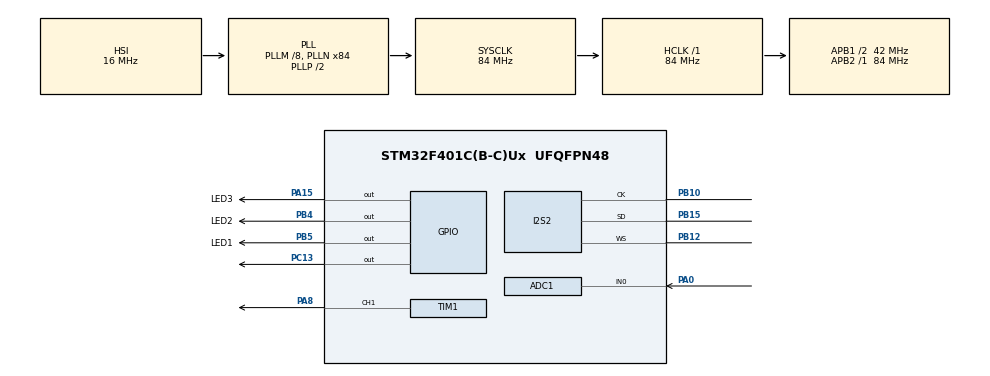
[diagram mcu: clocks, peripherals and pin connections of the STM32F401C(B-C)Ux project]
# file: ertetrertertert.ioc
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ADC1.Channel-7\#ChannelRegularConversion=ADC_CHANNEL_0
ADC1.ClockPrescaler=ADC_CLOCK_SYNC_PCLK_DIV8
ADC1.ContinuousConvMode=ENABLE
ADC1.DMAContinuousRequests=DISABLE
ADC1.EOCSelection=ADC_EOC_SEQ_CONV
ADC1.NbrOfConversion=1
ADC1.NbrOfConversionFlag=1
ADC1.Rank-7\#ChannelRegularConversion=1
ADC1.SamplingTime-7\#ChannelRegularConversion=ADC_SAMPLETIME_84CYCLES
ADC1.ScanConvMode=DISABLE
ADC1.master=1
Dma.Request0=SPI2_RX
Dma.SPI2_RX.0.Direction=DMA_PERIPH_TO_MEMORY
Dma.SPI2_RX.0.FIFOMode=DMA_FIFOMODE_DISABLE
Dma.SPI2_RX.0.Instance=DMA1_Stream3
Dma.SPI2_RX.0.MemDataAlignment=DMA_MDATAALIGN_HALFWORD
Dma.SPI2_RX.0.MemInc=DMA_MINC_ENABLE
Dma.SPI2_RX.0.Mode=DMA_CIRCULAR
Dma.SPI2_RX.0.PeriphDataAlignment=DMA_PDATAALIGN_HALFWORD
Dma.SPI2_RX.0.PeriphInc=DMA_PINC_DISABLE
Dma.SPI2_RX.0.Priority=DMA_PRIORITY_LOW
I2S2.AudioFreq=I2S_AUDIOFREQ_32K
I2S2.DataFormat=I2S_DATAFORMAT_16B_EXTENDED
I2S2.ErrorAudioFreq=-0.26 %
I2S2.FullDuplexMode=I2S_FULLDUPLEXMODE_DISABLE
I2S2.Instance=SPI$Index
I2S2.Mode=I2S_MODE_MASTER_RX
I2S2.RealAudioFreq=31.914 KHz
I2S2.VirtualMode=I2S_MODE_MASTER
Mcu.Family=STM32F4
Mcu.Name=STM32F401C(B-C)Ux
Mcu.Package=UFQFPN48
NVIC.ADC_IRQn=true\:0\:0\:false\:false\:true\:true\:true\:true
NVIC.DMA1_Stream3_IRQn=true\:0\:0\:false\:false\:true\:false\:true\:true
NVIC.PriorityGroup=NVIC_PRIORITYGROUP_4
NVIC.SPI2_IRQn=true\:0\:0\:false\:false\:true\:true\:true\:true
PA0-WKUP.Signal=ADCx_IN0
PA13.Mode=Serial_Wire
PA13.Signal=SYS_JTMS-SWDIO
PA14.Mode=Serial_Wire
PA14.Signal=SYS_JTCK-SWCLK
PA15.GPIO_Label=LED3
PA15.Signal=GPIO_Output
PA8.Signal=S_TIM1_CH1
PB10.Mode=Half_Duplex_Master
PB10.Signal=I2S2_CK
PB12.Mode=Half_Duplex_Master
PB12.Signal=I2S2_WS
PB15.Mode=Half_Duplex_Master
PB15.Signal=I2S2_SD
PB4.GPIO_Label=LED2
PB4.Signal=GPIO_Output
PB5.GPIO_Label=LED1
PB5.Signal=GPIO_Output
PC13-ANTI_TAMP.Signal=GPIO_Output
PH0\ -\ OSC_IN.Mode=HSE-External-Oscillator
PH0\ -\ OSC_IN.Signal=RCC_OSC_IN
PH1\ -\ OSC_OUT.Mode=HSE-External-Oscillator
PH1\ -\ OSC_OUT.Signal=RCC_OSC_OUT
ProjectManager.HeapSize=0x200
ProjectManager.StackSize=0x400
ProjectManager.TargetToolchain=STM32CubeIDE
RCC.48MHZClocksFreq_Value=42000000
RCC.AHBFreq_Value=84000000
RCC.APB1CLKDivider=RCC_HCLK_DIV2
RCC.APB1Freq_Value=42000000
RCC.APB1TimFreq_Value=84000000
RCC.APB2Freq_Value=84000000
RCC.APB2TimFreq_Value=84000000
RCC.CortexFreq_Value=84000000
RCC.HCLKFreq_Value=84000000
RCC.HSE_VALUE=25000000
RCC.HSI_VALUE=16000000
RCC.LSE_VALUE=32768
RCC.PLLM=8
RCC.PLLN=84
RCC.SYSCLKFreq_VALUE=84000000
RCC.SYSCLKSource=RCC_SYSCLKSOURCE_PLLCLK
RCC.VCOOutputFreq_Value=168000000
SH.ADCx_IN0.0=ADC1_IN0,IN0
SH.S_TIM1_CH1.0=TIM1_CH1,PWM Generation1 CH1
TIM1.AutoReloadPreload=TIM_AUTORELOAD_PRELOAD_ENABLE
TIM1.Channel-PWM\ Generation1\ CH1=TIM_CHANNEL_1
TIM1.Period=100
TIM1.Prescaler=127
VP_TIM1_VS_ClockSourceINT.Mode=Internal
board=custom

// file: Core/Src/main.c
/* USER CODE BEGIN Header */
/**
  ******************************************************************************
  * @file           : main.c
  * @brief          : Main program body
  ******************************************************************************
  * @attention
  *
  * Copyright (c) 2024 STMicroelectronics.
  * All rights reserved.
  *
  * This software is licensed under terms that can be found in the LICENSE file
  * in the root directory of this software component.
  * If no LICENSE file comes with this software, it is provided AS-IS.
  *
  ******************************************************************************
  */
/* USER CODE END Header */
#include "main.h"

ADC_HandleTypeDef hadc1;

I2S_HandleTypeDef hi2s2;
DMA_HandleTypeDef hdma_spi2_rx;

TIM_HandleTypeDef htim1;

/* USER CODE BEGIN PV */
volatile int16_t data_i2s[10];
volatile int16_t sample_i2s;
uint8_t i2s_tick = 0;
int dB_val;
uint16_t _max = 0;
uint16_t _min = 0;
uint8_t alarm = 0;

uint8_t radar = 0;
uint8_t motion = 0;
uint8_t last_motion = 0;

volatile int32_t adc_in;
volatile int32_t n_adc_in;

int32_t threshold = 0;
/* USER CODE END PV */

void SystemClock_Config(void);
static void MX_GPIO_Init(void);
static void MX_DMA_Init(void);
static void MX_I2S2_Init(void);
static void MX_ADC1_Init(void);
static void MX_TIM1_Init(void);

/* USER CODE BEGIN 0 */
void HAL_I2S_RxCpltCallback(I2S_HandleTypeDef *hi2s){
	sample_i2s = data_i2s[0];
	i2s_tick = 255;
}

void HAL_ADC_ConvCpltCallback(ADC_HandleTypeDef* hadc)
{
	adc_in = HAL_ADC_GetValue(&hadc1);
	n_adc_in = (~adc_in) + 1;
}
/* USER CODE END 0 */

int main(void)
{

  /* MCU Configuration--------------------------------------------------------*/

  /* Reset of all peripherals, Initializes the Flash interface and the Systick. */
  HAL_Init();

  /* Configure the system clock */
  SystemClock_Config();

  /* Initialize all configured peripherals */
  MX_GPIO_Init();
  MX_DMA_Init();
  MX_I2S2_Init();
  MX_ADC1_Init();
  MX_TIM1_Init();
  /* USER CODE BEGIN 2 */
  HAL_I2S_Receive_DMA(&hi2s2,(uint16_t*)data_i2s, sizeof(data_i2s)/2);
  HAL_TIM_PWM_Start(&htim1, TIM_CHANNEL_1);
  HAL_ADC_Start_IT(&hadc1);

  alarm = 0;
  HAL_Delay(1000);
  /* USER CODE END 2 */

  /* Infinite loop */
  /* USER CODE BEGIN WHILE */
  while (1)
  {
	  if(i2s_tick == 255){
//	  		  _max = 0;
//	  		  _min = 0;
//	  		  for(int i = 0; i < 10;i++){
//	  			  if(data_i2s[i] >= _max){
//	  				  _max = data_i2s[i];
//	  			  }
//	  			  if(data_i2s[i] <= (~_min + 1)){
//	  				  _min = (~data_i2s[i] + 1);
//	  			  }
//	  		  }
//	  		  dB_val = _max + _min;

	  		  i2s_tick = 0;
	  	  }

	  	  if((sample_i2s >= adc_in) || (sample_i2s <= n_adc_in)){
	  		  alarm = 0xff;
	  	  }

	  	  if(alarm){
	  		  for(uint8_t j = 0; j < 10; j++){
		  		  htim1.Instance->ARR = 800;
		  		  htim1.Instance->CCR1 = (float) htim1.Instance->ARR * 0.9f;
		  		  HAL_GPIO_WritePin(LED1_GPIO_Port, LED1_Pin, RESET);
		  		  HAL_GPIO_WritePin(LED3_GPIO_Port, LED3_Pin, SET);
		  		  HAL_Delay(200);
		  		  htim1.Instance->ARR = 1200;
		  		  htim1.Instance->CCR1 = (float) htim1.Instance->ARR * 0.9f;
		  		  HAL_GPIO_WritePin(LED1_GPIO_Port, LED1_Pin, SET);
		  		  HAL_GPIO_WritePin(LED3_GPIO_Port, LED3_Pin, RESET);
		  		  HAL_Delay(200);
	  		  }

	  		  htim1.Instance->ARR = 800;
	  		  htim1.Instance->CCR1 = (float) htim1.Instance->ARR * 0.5f;;
	  		  HAL_GPIO_WritePin(LED1_GPIO_Port, LED1_Pin, SET);
	  		  HAL_GPIO_WritePin(LED2_GPIO_Port, LED2_Pin, RESET);
	  		  HAL_GPIO_WritePin(LED3_GPIO_Port, LED3_Pin, SET);
	  		  HAL_Delay(500);
	  		  HAL_GPIO_WritePin(LED1_GPIO_Port, LED1_Pin, SET);
	  		  HAL_GPIO_WritePin(LED2_GPIO_Port, LED2_Pin, SET);
	  		  HAL_GPIO_WritePin(LED3_GPIO_Port, LED3_Pin, RESET);
	  		  HAL_Delay(500);
	  		  HAL_GPIO_WritePin(LED1_GPIO_Port, LED1_Pin, RESET);
	  		  HAL_GPIO_WritePin(LED2_GPIO_Port, LED2_Pin, SET);
	  		  HAL_GPIO_WritePin(LED3_GPIO_Port, LED3_Pin, SET);
	  		  HAL_Delay(500);
	  		  alarm = 0;
	  	  }
	  	  else{
	  		  htim1.Instance->ARR = 1200;
	  		  htim1.Instance->CCR1 = 0;
	  		  HAL_GPIO_WritePin(LED1_GPIO_Port, LED1_Pin, RESET);
	  		  HAL_GPIO_WritePin(LED2_GPIO_Port, LED2_Pin, RESET);
	  		  HAL_GPIO_WritePin(LED3_GPIO_Port, LED3_Pin, RESET);
	  	  }
    /* USER CODE END WHILE */

  }
}

void SystemClock_Config(void)
{
  RCC_OscInitTypeDef RCC_OscInitStruct = {0};
  RCC_ClkInitTypeDef RCC_ClkInitStruct = {0};

  /** Configure the main internal regulator output voltage
  */
  __HAL_RCC_PWR_CLK_ENABLE();
  __HAL_PWR_VOLTAGESCALING_CONFIG(PWR_REGULATOR_VOLTAGE_SCALE2);

  /** Initializes the RCC Oscillators according to the specified parameters
  * in the RCC_OscInitTypeDef structure.
  */
  RCC_OscInitStruct.OscillatorType = RCC_OSCILLATORTYPE_HSI;
  RCC_OscInitStruct.HSIState = RCC_HSI_ON;
  RCC_OscInitStruct.HSICalibrationValue = RCC_HSICALIBRATION_DEFAULT;
  RCC_OscInitStruct.PLL.PLLState = RCC_PLL_ON;
  RCC_OscInitStruct.PLL.PLLSource = RCC_PLLSOURCE_HSI;
  RCC_OscInitStruct.PLL.PLLM = 8;
  RCC_OscInitStruct.PLL.PLLN = 84;
  RCC_OscInitStruct.PLL.PLLP = RCC_PLLP_DIV2;
  RCC_OscInitStruct.PLL.PLLQ = 4;
  if (HAL_RCC_OscConfig(&RCC_OscInitStruct) != HAL_OK)
  {
    Error_Handler();
  }

  /** Initializes the CPU, AHB and APB buses clocks
  */
  RCC_ClkInitStruct.ClockType = RCC_CLOCKTYPE_HCLK|RCC_CLOCKTYPE_SYSCLK
                              |RCC_CLOCKTYPE_PCLK1|RCC_CLOCKTYPE_PCLK2;
  RCC_ClkInitStruct.SYSCLKSource = RCC_SYSCLKSOURCE_PLLCLK;
  RCC_ClkInitStruct.AHBCLKDivider = RCC_SYSCLK_DIV1;
  RCC_ClkInitStruct.APB1CLKDivider = RCC_HCLK_DIV2;
  RCC_ClkInitStruct.APB2CLKDivider = RCC_HCLK_DIV1;

  if (HAL_RCC_ClockConfig(&RCC_ClkInitStruct, FLASH_LATENCY_2) != HAL_OK)
  {
    Error_Handler();
  }
}

static void MX_ADC1_Init(void)
{

  ADC_ChannelConfTypeDef sConfig = {0};

  /** Configure the global features of the ADC (Clock, Resolution, Data Alignment and number of conversion)
  */
  hadc1.Instance = ADC1;
  hadc1.Init.ClockPrescaler = ADC_CLOCK_SYNC_PCLK_DIV8;
  hadc1.Init.Resolution = ADC_RESOLUTION_12B;
  hadc1.Init.ScanConvMode = DISABLE;
  hadc1.Init.ContinuousConvMode = ENABLE;
  hadc1.Init.DiscontinuousConvMode = DISABLE;
  hadc1.Init.ExternalTrigConvEdge = ADC_EXTERNALTRIGCONVEDGE_NONE;
  hadc1.Init.ExternalTrigConv = ADC_SOFTWARE_START;
  hadc1.Init.DataAlign = ADC_DATAALIGN_RIGHT;
  hadc1.Init.NbrOfConversion = 1;
  hadc1.Init.DMAContinuousRequests = DISABLE;
  hadc1.Init.EOCSelection = ADC_EOC_SEQ_CONV;
  if (HAL_ADC_Init(&hadc1) != HAL_OK)
  {
    Error_Handler();
  }

  /** Configure for the selected ADC regular channel its corresponding rank in the sequencer and its sample time.
  */
  sConfig.Channel = ADC_CHANNEL_0;
  sConfig.Rank = 1;
  sConfig.SamplingTime = ADC_SAMPLETIME_84CYCLES;
  if (HAL_ADC_ConfigChannel(&hadc1, &sConfig) != HAL_OK)
  {
    Error_Handler();
  }

}

static void MX_I2S2_Init(void)
{

  hi2s2.Instance = SPI2;
  hi2s2.Init.Mode = I2S_MODE_MASTER_RX;
  hi2s2.Init.Standard = I2S_STANDARD_PHILIPS;
  hi2s2.Init.DataFormat = I2S_DATAFORMAT_16B_EXTENDED;
  hi2s2.Init.MCLKOutput = I2S_MCLKOUTPUT_DISABLE;
  hi2s2.Init.AudioFreq = I2S_AUDIOFREQ_32K;
  hi2s2.Init.CPOL = I2S_CPOL_LOW;
  hi2s2.Init.ClockSource = I2S_CLOCK_PLL;
  hi2s2.Init.FullDuplexMode = I2S_FULLDUPLEXMODE_DISABLE;
  if (HAL_I2S_Init(&hi2s2) != HAL_OK)
  {
    Error_Handler();
  }

}

static void MX_TIM1_Init(void)
{

  TIM_ClockConfigTypeDef sClockSourceConfig = {0};
  TIM_MasterConfigTypeDef sMasterConfig = {0};
  TIM_OC_InitTypeDef sConfigOC = {0};
  TIM_BreakDeadTimeConfigTypeDef sBreakDeadTimeConfig = {0};

  htim1.Instance = TIM1;
  htim1.Init.Prescaler = 127;
  htim1.Init.CounterMode = TIM_COUNTERMODE_UP;
  htim1.Init.Period = 100;
  htim1.Init.ClockDivision = TIM_CLOCKDIVISION_DIV1;
  htim1.Init.RepetitionCounter = 0;
  htim1.Init.AutoReloadPreload = TIM_AUTORELOAD_PRELOAD_ENABLE;
  if (HAL_TIM_Base_Init(&htim1) != HAL_OK)
  {
    Error_Handler();
  }
  sClockSourceConfig.ClockSource = TIM_CLOCKSOURCE_INTERNAL;
  if (HAL_TIM_ConfigClockSource(&htim1, &sClockSourceConfig) != HAL_OK)
  {
    Error_Handler();
  }
  if (HAL_TIM_PWM_Init(&htim1) != HAL_OK)
  {
    Error_Handler();
  }
  sMasterConfig.MasterOutputTrigger = TIM_TRGO_RESET;
  sMasterConfig.MasterSlaveMode = TIM_MASTERSLAVEMODE_DISABLE;
  if (HAL_TIMEx_MasterConfigSynchronization(&htim1, &sMasterConfig) != HAL_OK)
  {
    Error_Handler();
  }
  sConfigOC.OCMode = TIM_OCMODE_PWM1;
  sConfigOC.Pulse = 0;
  sConfigOC.OCPolarity = TIM_OCPOLARITY_HIGH;
  sConfigOC.OCNPolarity = TIM_OCNPOLARITY_HIGH;
  sConfigOC.OCFastMode = TIM_OCFAST_DISABLE;
  sConfigOC.OCIdleState = TIM_OCIDLESTATE_RESET;
  sConfigOC.OCNIdleState = TIM_OCNIDLESTATE_RESET;
  if (HAL_TIM_PWM_ConfigChannel(&htim1, &sConfigOC, TIM_CHANNEL_1) != HAL_OK)
  {
    Error_Handler();
  }
  sBreakDeadTimeConfig.OffStateRunMode = TIM_OSSR_DISABLE;
  sBreakDeadTimeConfig.OffStateIDLEMode = TIM_OSSI_DISABLE;
  sBreakDeadTimeConfig.LockLevel = TIM_LOCKLEVEL_OFF;
  sBreakDeadTimeConfig.DeadTime = 0;
  sBreakDeadTimeConfig.BreakState = TIM_BREAK_DISABLE;
  sBreakDeadTimeConfig.BreakPolarity = TIM_BREAKPOLARITY_HIGH;
  sBreakDeadTimeConfig.AutomaticOutput = TIM_AUTOMATICOUTPUT_DISABLE;
  if (HAL_TIMEx_ConfigBreakDeadTime(&htim1, &sBreakDeadTimeConfig) != HAL_OK)
  {
    Error_Handler();
  }
  HAL_TIM_MspPostInit(&htim1);

}

static void MX_DMA_Init(void)
{

  /* DMA controller clock enable */
  __HAL_RCC_DMA1_CLK_ENABLE();

  /* DMA interrupt init */
  /* DMA1_Stream3_IRQn interrupt configuration */
  HAL_NVIC_SetPriority(DMA1_Stream3_IRQn, 0, 0);
  HAL_NVIC_EnableIRQ(DMA1_Stream3_IRQn);

}

static void MX_GPIO_Init(void)
{
  GPIO_InitTypeDef GPIO_InitStruct = {0};

  /* GPIO Ports Clock Enable */
  __HAL_RCC_GPIOC_CLK_ENABLE();
  __HAL_RCC_GPIOH_CLK_ENABLE();
  __HAL_RCC_GPIOA_CLK_ENABLE();
  __HAL_RCC_GPIOB_CLK_ENABLE();

  /*Configure GPIO pin Output Level */
  HAL_GPIO_WritePin(GPIOC, GPIO_PIN_13, GPIO_PIN_RESET);

  /*Configure GPIO pin Output Level */
  HAL_GPIO_WritePin(LED3_GPIO_Port, LED3_Pin, GPIO_PIN_RESET);

  /*Configure GPIO pin Output Level */
  HAL_GPIO_WritePin(GPIOB, LED2_Pin|LED1_Pin, GPIO_PIN_RESET);

  /*Configure GPIO pin : PC13 */
  GPIO_InitStruct.Pin = GPIO_PIN_13;
  GPIO_InitStruct.Mode = GPIO_MODE_OUTPUT_PP;
  GPIO_InitStruct.Pull = GPIO_NOPULL;
  GPIO_InitStruct.Speed = GPIO_SPEED_FREQ_LOW;
  HAL_GPIO_Init(GPIOC, &GPIO_InitStruct);

  /*Configure GPIO pin : LED3_Pin */
  GPIO_InitStruct.Pin = LED3_Pin;
  GPIO_InitStruct.Mode = GPIO_MODE_OUTPUT_PP;
  GPIO_InitStruct.Pull = GPIO_NOPULL;
  GPIO_InitStruct.Speed = GPIO_SPEED_FREQ_LOW;
  HAL_GPIO_Init(LED3_GPIO_Port, &GPIO_InitStruct);

  /*Configure GPIO pins : LED2_Pin LED1_Pin */
  GPIO_InitStruct.Pin = LED2_Pin|LED1_Pin;
  GPIO_InitStruct.Mode = GPIO_MODE_OUTPUT_PP;
  GPIO_InitStruct.Pull = GPIO_NOPULL;
  GPIO_InitStruct.Speed = GPIO_SPEED_FREQ_LOW;
  HAL_GPIO_Init(GPIOB, &GPIO_InitStruct);

}

void Error_Handler(void)
{
  __disable_irq();
  while (1)
  {
  }
}
